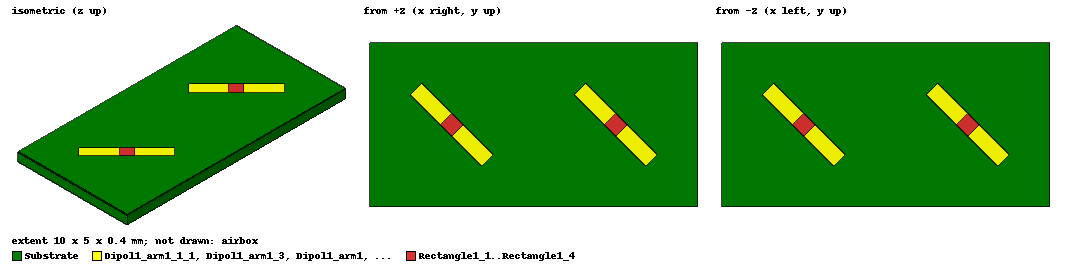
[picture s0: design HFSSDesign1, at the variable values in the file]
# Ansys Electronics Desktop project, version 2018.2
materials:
  vacuum: permittivity=1
  FR4_epoxy: permittivity=4.4 dielectric_loss_tangent=0.02

design HFSSDesign1 (HFSS, DrivenModal, model units mm)
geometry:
  Substrate [FR4_epoxy] = box(corner=((-10/2) mm, (-5/2) mm, 0mm), size=(10mm, 5mm, 0.4mm))
  Dipol1_arm1 = rectangle(corner=(-0.25mm, 0.25mm, 0mm), x_size=0.5mm, y_size=1.3mm)
  Dipol1_arm1_1 = Dipol1_arm1.duplicate_around_axis(axis=Z, angle=180deg, total=2)
  [Dipol1_arm1_1, Dipol1_arm1].rotate(axis=Z, angle=-45deg)
  Dipol1_arm1_2 = Dipol1_arm1.duplicate_along_line(step=(-3mm, 0mm, 0mm), total=2)
  Dipol1_arm1_1_1 = Dipol1_arm1_1.duplicate_along_line(step=(-3mm, 0mm, 0mm), total=2)
  [Dipol1_arm1, Dipol1_arm1_1].move(3mm, 0mm, 0mm)
  Dipol1_arm1_2_1 = Dipol1_arm1_2.duplicate_along_line(step=(0mm, 0mm, 0.4mm), total=2)
  Dipol1_arm1_1_1_1 = Dipol1_arm1_1_1.duplicate_along_line(step=(0mm, 0mm, 0.4mm), total=2)
  Dipol1_arm1_3 = Dipol1_arm1.duplicate_along_line(step=(0mm, 0mm, 0.4mm), total=2)
  Dipol1_arm1_1_2 = Dipol1_arm1_1.duplicate_along_line(step=(0mm, 0mm, 0.4mm), total=2)
  Rectangle1 = rectangle(corner=(-0.25mm, -0.25mm, 0mm), x_size=0.5mm, y_size=0.5mm)
  Rectangle1.rotate(axis=Z, angle=-45deg)
  Rectangle1_1 = Rectangle1.duplicate_along_line(step=(-3mm, 0mm, 0mm), total=2)
  Rectangle1_2 = Rectangle1.duplicate_along_line(step=(3mm, 0mm, 0mm), total=2)
  Rectangle1_3 = Rectangle1.duplicate_along_line(step=(-3mm, 0mm, 0.4mm), total=2)
  Rectangle1_4 = Rectangle1.duplicate_along_line(step=(3mm, 0mm, 0.4mm), total=2)
  Rectangle1.delete()
  coordinate_system RelativeCS1 = origin=(3mm, 0mm, 0.4mm) x=(1mm, 0mm, 0mm) y=(0mm, 1mm, 0mm)
  [Dipol1_arm1_1_2, Rectangle1_4, Dipol1_arm1_3].rotate(axis=Z, angle=-90deg) in RelativeCS1
  coordinate_system RelativeCS2 = origin=(-6mm, 0mm, 0mm) x=(1mm, 0mm, 0mm) y=(0mm, 1mm, 0mm) in RelativeCS1
  [Dipol1_arm1_2_1, Rectangle1_3, Dipol1_arm1_1_1_1].rotate(axis=Z, angle=-90deg) in RelativeCS2
  coordinate_system RelativeCS3 = origin=(3mm, 0mm, 0mm) x=(1mm, 0mm, 0mm) y=(0mm, 1mm, 0mm) in RelativeCS2
  coordinate_system RelativeCS4 = origin=(0mm, 0mm, -0.4mm) x=(1mm, 0mm, 0mm) y=(0mm, 1mm, 0mm) in RelativeCS3
  [Dipol1_arm1_2, Dipol1_arm1_1_1, Dipol1_arm1_2_1, Dipol1_arm1_1_1_1, Rectangle1_1, Rectangle1_3].move(0.5mm, 0mm, 0mm) in RelativeCS4
  [Dipol1_arm1, Dipol1_arm1_1, Dipol1_arm1_3, Dipol1_arm1_1_2, Rectangle1_2, Rectangle1_4].move(-0.5mm, 0mm, 0mm) in RelativeCS4
  airbox [vacuum] = box(corner=((-16/2) mm, (-8/2) mm, -2.5mm), size=(16mm, 8mm, 5.4mm)) in RelativeCS4
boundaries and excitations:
  PerfE1: Perfect E Objects=[Dipol1_arm1_1_1, Dipol1_arm1_2]
  PerfE2: Perfect E Objects=[Dipol1_arm1_1, Dipol1_arm1]
  PerfE3: Perfect E Objects=[Dipol1_arm1_1_1_1, Dipol1_arm1_2_1]
  PerfE4: Perfect E Objects=[Dipol1_arm1_1_2, Dipol1_arm1_3]
  Rad1: Radiation Faces=airbox.face(all 6)
  1: Lumped Port Objects=Rectangle1_1 Modes{Mode1{IntLine{middle of Rectangle1_1.edge(1 of 4) -> middle of Rectangle1_1.edge(3 of 4)} CharImp=Zpi RenormImp=50ohm}} Impedance=50ohm
  2: Lumped Port Objects=Rectangle1_2 Modes{Mode1{IntLine{middle of Rectangle1_2.edge(1 of 4) -> middle of Rectangle1_2.edge(3 of 4)} CharImp=Zpi RenormImp=50ohm}} Impedance=50ohm
  3: Lumped Port Objects=Rectangle1_3 Modes{Mode1{IntLine{middle of Rectangle1_3.edge(1 of 4) -> middle of Rectangle1_3.edge(3 of 4)} CharImp=Zpi RenormImp=50ohm}} Impedance=50ohm
  4: Lumped Port Objects=Rectangle1_4 Modes{Mode1{IntLine{middle of Rectangle1_4.edge(1 of 4) -> middle of Rectangle1_4.edge(3 of 4)} CharImp=Zpi RenormImp=50ohm}} Impedance=50ohm
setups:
  Setup1: HfssDriven Frequency=30GHz MaxDeltaS=0.02 MaximumPasses=10 MinimumPasses=1 MinimumConvergedPasses=1 PercentRefinement=30 BasisOrder=1 PortAccuracy=2
    sweep Sweep: 20GHz to 40GHz, 91 points; Type=Fast SaveFields
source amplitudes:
  1:1, 2:1, 3:1, 4:1: 1W 0deg
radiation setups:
  3D polar: Infinite Sphere Theta=0deg..180deg step 2deg Phi=-180deg..180deg step 2deg
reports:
  S Parameter Plot 1: dB(S(1,1)) vs Freq on Setup1 : Sweep
